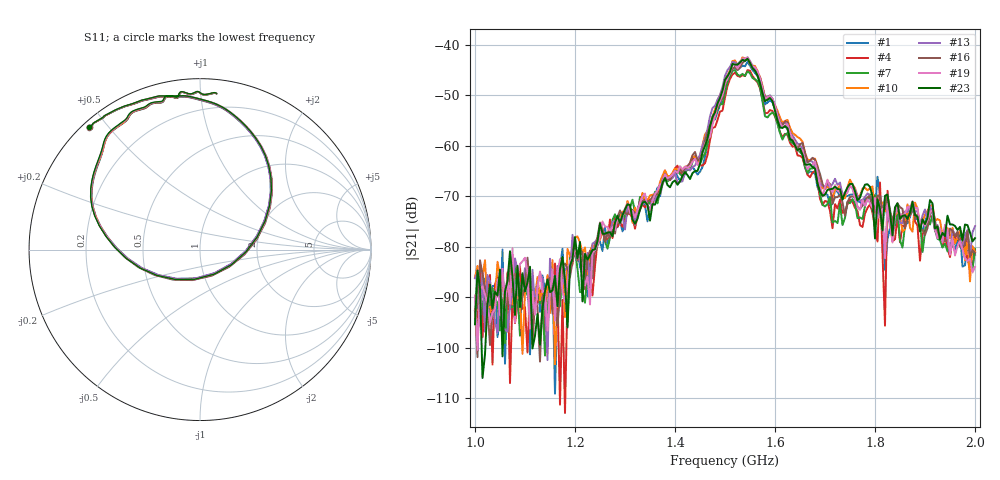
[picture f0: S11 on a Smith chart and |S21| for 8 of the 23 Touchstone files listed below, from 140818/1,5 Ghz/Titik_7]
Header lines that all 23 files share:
# Hz S RI R 50
! CMT, C1220, 16058040, 17.2.0/1
! Data: Format (Calibration Info)
! Freq  S11: Re/Im (F2)  S21: Re/Im (F2)  S12: Re/Im (F2)  S22: Re/Im (F2)
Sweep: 1 GHz to 2 GHz
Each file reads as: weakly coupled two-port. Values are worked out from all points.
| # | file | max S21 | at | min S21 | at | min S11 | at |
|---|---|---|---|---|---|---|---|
| 1 | Sudut_30_Titik_7.s2p | -43.33 dB | 1.545 GHz | -109.1 dB | 1.16 GHz | -15.8 dB | 1.53 GHz |
| 2 | Sudut_40_Titik_7.s2p | -43.68 dB | 1.545 GHz | -108.7 dB | 1.015 GHz | -15.8 dB | 1.53 GHz |
| 3 | Sudut_60_Titik_7.s2p | -44.63 dB | 1.545 GHz | -101.3 dB | 1.005 GHz | -15.6 dB | 1.53 GHz |
| 4 | Sudut_70_Titik_7.s2p | -44.97 dB | 1.545 GHz | -112.9 dB | 1.18 GHz | -15.5 dB | 1.53 GHz |
| 5 | Sudut_80_Titik_7.s2p | -44.88 dB | 1.545 GHz | -98.1 dB | 1.125 GHz | -15.5 dB | 1.53 GHz |
| 6 | Sudut_90_Titik_7.s2p | -45.12 dB | 1.545 GHz | -101.6 dB | 1 GHz | -15.5 dB | 1.53 GHz |
| 7 | Sudut_100_Titik_7.s2p | -44.96 dB | 1.52 GHz | -101.5 dB | 1.14 GHz | -15.6 dB | 1.53 GHz |
| 8 | Sudut_130_Titik_7.s2p | -43.47 dB | 1.535 GHz | -105.4 dB | 1 GHz | -15.9 dB | 1.53 GHz |
| 9 | Sudut_150_Titik_7.s2p | -42.78 dB | 1.535 GHz | -104.3 dB | 1.02 GHz | -15.8 dB | 1.53 GHz |
| 10 | Sudut_160_Titik_7.s2p | -42.44 dB | 1.535 GHz | -103.2 dB | 1.16 GHz | -15.7 dB | 1.53 GHz |
| 11 | Sudut_170_Titik_7.s2p | -42.06 dB | 1.535 GHz | -109.4 dB | 1.185 GHz | -15.6 dB | 1.53 GHz |
| 12 | Sudut_180_Titik_7.s2p | -42.08 dB | 1.535 GHz | -100.3 dB | 1.135 GHz | -15.7 dB | 1.53 GHz |
| 13 | Sudut_210_Titik_7.s2p | -42.43 dB | 1.545 GHz | -102.4 dB | 1.145 GHz | -15.9 dB | 1.53 GHz |
| 14 | Sudut_230_Titik_7.s2p | -42.49 dB | 1.545 GHz | -101.5 dB | 1.085 GHz | -15.6 dB | 1.53 GHz |
| 15 | Sudut_250_Titik_7.s2p | -42.43 dB | 1.545 GHz | -97.7 dB | 1.01 GHz | -15.4 dB | 1.53 GHz |
| 16 | Sudut_260_Titik_7.s2p | -42.60 dB | 1.545 GHz | -102.7 dB | 1.13 GHz | -15.5 dB | 1.53 GHz |
| 17 | Sudut_270_Titik_7.s2p | -42.22 dB | 1.545 GHz | -105.4 dB | 1.12 GHz | -15.6 dB | 1.53 GHz |
| 18 | Sudut_280_Titik_7.s2p | -42.80 dB | 1.545 GHz | -104.1 dB | 1.12 GHz | -15.7 dB | 1.53 GHz |
| 19 | Sudut_300_Titik_7.s2p | -42.46 dB | 1.545 GHz | -100.4 dB | 1.005 GHz | -15.7 dB | 1.53 GHz |
| 20 | Sudut_310_Titik_7.s2p | -42.50 dB | 1.535 GHz | -116.6 dB | 1.055 GHz | -15.6 dB | 1.53 GHz |
| 21 | Sudut_320_Titik_7.s2p | -43.22 dB | 1.535 GHz | -99.0 dB | 1.05 GHz | -15.6 dB | 1.53 GHz |
| 22 | Sudut_340_Titik_7.s2p | -42.97 dB | 1.545 GHz | -109.6 dB | 1.09 GHz | -15.6 dB | 1.53 GHz |
| 23 | Sudut_350_Titik_7.s2p | -42.71 dB | 1.545 GHz | -105.9 dB | 1.015 GHz | -15.6 dB | 1.53 GHz |
